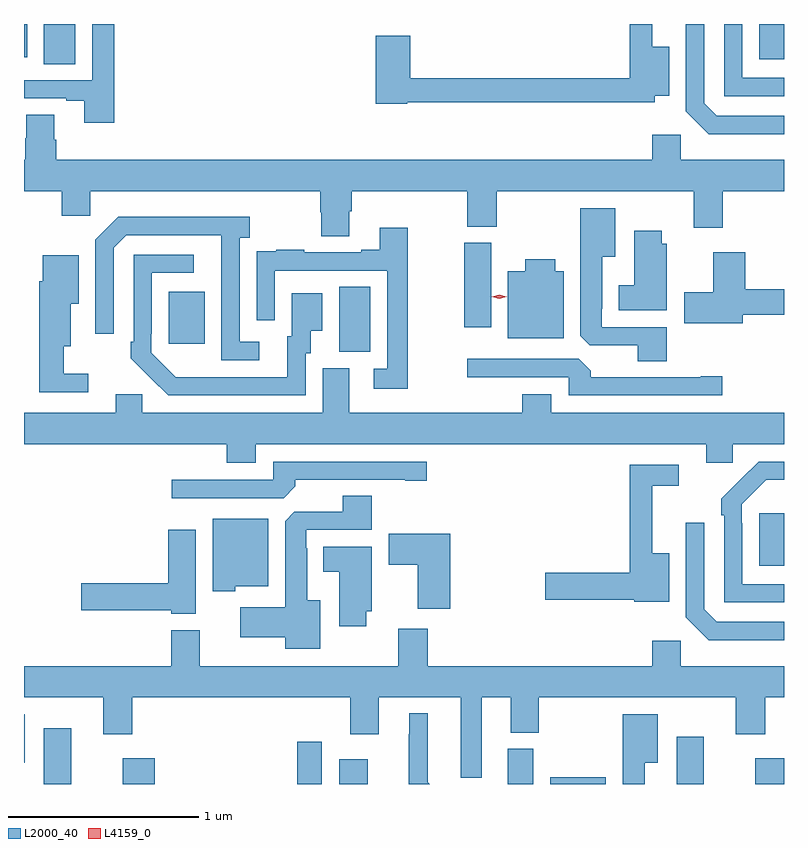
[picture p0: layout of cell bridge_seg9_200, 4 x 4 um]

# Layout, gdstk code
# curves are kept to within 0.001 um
import gdstk
lib = gdstk.Library(unit=1e-6, precision=1e-09)
def R(c, l, rs):  # rectangles x0, y0, x1, y1
    for r in rs: c.add(gdstk.rectangle(r[:2], r[2:], *l))
def P(c, l, *ps):  # polygons
    for p in ps: c.add(gdstk.Polygon(p, *l))
L2000_40 = (2000, 40)
L4159_0 = (4159, 0)

bridge_seg9_200 = lib.new_cell('bridge_seg9_200')
R(bridge_seg9_200, L2000_40, [(203.102,1201.291,203.245,1201.585), (203.516,1201.291,203.684,1201.426), (204.434,1201.291,204.565,1201.513), (204.656,1201.291,204.805,1201.42), (205.544,1201.291,205.678,1201.476), (205.766,1201.291,206.059,1201.327), (206.432,1201.291,206.575,1201.54), (206.846,1201.291,206.997,1201.426), (202.997,1201.403,203.002,1201.657), (206.867,1202.441,206.997,1202.716), (204.656,1203.565,204.82,1203.908), (203.759,1203.609,203.947,1203.883), (205.315,1203.696,205.456,1204.14), (203.102,1205.08,203.266,1205.291), (206.867,1205.105,206.997,1205.291), (202.997,1205.115,203.014,1205.291)])
P(bridge_seg9_200, L2000_40, [(206.997,1205.007),(206.778,1205.007),(206.778,1205.291),(206.682,1205.291),(206.682,1204.911),(206.997,1204.911)],
  [(205.014,1204.878),(206.316,1204.878),(206.316,1204.913),(206.392,1204.913),(206.392,1205.17),(206.303,1205.17),(206.303,1205.291),(206.185,1205.291),(206.185,1205.006),(205.031,1205.006),(205.031,1205.23),(204.848,1205.23),(204.848,1204.87),(205.014,1204.87)],
  [(206.997,1204.809),(206.643,1204.809),(206.577,1204.875),(206.577,1205.291),(206.481,1205.291),(206.481,1204.833),(206.602,1204.712),(206.997,1204.712)],
  [(203.471,1205.291),(203.355,1205.291),(203.355,1204.995),(202.997,1204.995),(202.997,1204.899),(203.219,1204.899),(203.219,1204.887),(203.315,1204.887),(203.315,1204.77),(203.471,1204.77)],
  [(204.709,1204.306),(204.722,1204.306),(204.722,1204.412),(205.33,1204.412),(205.33,1204.225),(205.485,1204.225),(205.485,1204.412),(206.522,1204.412),(206.522,1204.218),(206.675,1204.218),(206.675,1204.412),(206.997,1204.412),(206.997,1204.576),(206.454,1204.576),(206.454,1204.708),(206.303,1204.708),(206.303,1204.576),(203.168,1204.576),(203.168,1204.682),(203.155,1204.682),(203.155,1204.814),(203.008,1204.814),(203.008,1204.689),(203.003,1204.689),(203.003,1204.576),(202.997,1204.576),(202.997,1204.412),(203.195,1204.412),(203.195,1204.281),(203.346,1204.281),(203.346,1204.412),(204.557,1204.412),(204.557,1204.299),(204.562,1204.299),(204.562,1204.174),(204.709,1204.174)],
  [(206.381,1203.696),(206.037,1203.696),(206.037,1203.793),(206.041,1203.793),(206.041,1204.067),(206.11,1204.067),(206.11,1204.321),(205.925,1204.321),(205.925,1203.649),(205.974,1203.6),(206.228,1203.6),(206.228,1203.517),(206.381,1203.517)],
  [(204.235,1203.618),(204.132,1203.618),(204.132,1204.166),(204.184,1204.166),(204.184,1204.276),(203.494,1204.276),(203.373,1204.155),(203.373,1203.66),(203.469,1203.66),(203.469,1204.113),(203.535,1204.179),(204.035,1204.179),(204.036,1203.522),(204.235,1203.522)],
  [(205.018,1204.219),(204.869,1204.219),(204.869,1204.102),(204.773,1204.102),(204.773,1204.089),(204.473,1204.089),(204.473,1204.102),(204.325,1204.102),(204.325,1204.095),(204.223,1204.095),(204.223,1203.986),(204.222,1203.986),(204.222,1203.732),(204.318,1203.732),(204.318,1203.993),(204.909,1203.993),(204.909,1203.477),(204.837,1203.477),(204.837,1203.372),(205.018,1203.372)],
  [(206.38,1204.134),(206.353,1204.134),(206.353,1204.204),(206.21,1204.204),(206.21,1203.916),(206.126,1203.916),(206.126,1203.785),(206.38,1203.785)],
  [(206.779,1203.76),(206.997,1203.76),(206.997,1203.896),(206.792,1203.896),(206.792,1204.09),(206.624,1204.09),(206.624,1203.879),(206.472,1203.879),(206.472,1203.716),(206.779,1203.716)],
  [(204.48,1203.558),(204.505,1203.558),(204.505,1203.677),(204.568,1203.677),(204.568,1203.874),(204.407,1203.874),(204.407,1203.648),(204.383,1203.648),(204.383,1203.432),(203.796,1203.433),(203.667,1203.561),(203.667,1203.661),(203.67,1203.661),(203.67,1203.981),(203.89,1203.981),(203.89,1204.077),(203.574,1204.077),(203.574,1203.619),(203.559,1203.619),(203.559,1203.531),(203.756,1203.336),(204.48,1203.336)],
  [(203.335,1203.451),(203.206,1203.451),(203.206,1203.596),(203.242,1203.596),(203.242,1203.818),(203.284,1203.818),(203.284,1204.075),(203.096,1204.075),(203.096,1203.936),(203.077,1203.936),(203.077,1203.354),(203.335,1203.354)],
  [(205.837,1203.991),(205.792,1203.991),(205.792,1204.054),(205.634,1204.054),(205.634,1203.991),(205.544,1203.991),(205.544,1203.638),(205.837,1203.638)],
  [(206.671,1203.437),(206.558,1203.437),(206.558,1203.432),(205.979,1203.432),(205.979,1203.466),(205.917,1203.528),(205.329,1203.528),(205.329,1203.432),(205.863,1203.432),(205.863,1203.336),(206.671,1203.336)],
  [(204.217,1203.08),(206.588,1203.08),(206.588,1202.982),(206.727,1202.982),(206.727,1203.08),(206.997,1203.08),(206.997,1203.244),(205.771,1203.244),(205.771,1203.343),(205.619,1203.343),(205.619,1203.244),(204.709,1203.244),(204.709,1203.48),(204.569,1203.48),(204.569,1203.244),(203.619,1203.244),(203.619,1203.342),(203.48,1203.342),(203.48,1203.244),(202.997,1203.244),(202.997,1203.08),(204.065,1203.08),(204.065,1202.981),(204.217,1202.981)],
  [(206.997,1202.343),(206.778,1202.343),(206.778,1202.663),(206.775,1202.663),(206.775,1202.763),(206.904,1202.892),(206.997,1202.892),(206.997,1202.988),(206.864,1202.988),(206.667,1202.793),(206.667,1202.705),(206.682,1202.705),(206.682,1202.247),(206.997,1202.247)],
  [(204.425,1202.858),(204.425,1202.892),(205.004,1202.892),(205.004,1202.887),(205.117,1202.887),(205.117,1202.988),(204.309,1202.988),(204.309,1202.892),(203.775,1202.892),(203.775,1202.796),(204.363,1202.796)],
  [(206.392,1202.506),(206.303,1202.506),(206.303,1202.862),(206.443,1202.862),(206.443,1202.97),(206.185,1202.97),(206.185,1202.402),(205.74,1202.402),(205.74,1202.26),(206.208,1202.26),(206.208,1202.249),(206.392,1202.249)],
  [(204.556,1202.257),(204.487,1202.257),(204.487,1202.531),(204.483,1202.531),(204.483,1202.628),(204.827,1202.628),(204.827,1202.807),(204.674,1202.807),(204.674,1202.724),(204.42,1202.724),(204.371,1202.675),(204.371,1202.221),(204.135,1202.221),(204.135,1202.063),(204.371,1202.063),(204.371,1202.003),(204.556,1202.003)],
  [(204.108,1202.333),(204.283,1202.333),(204.283,1202.686),(203.99,1202.686),(203.99,1202.306),(204.108,1202.306)],
  [(206.997,1202.145),(206.643,1202.145),(206.577,1202.211),(206.577,1202.665),(206.481,1202.665),(206.481,1202.169),(206.602,1202.048),(206.997,1202.048)],
  [(203.902,1202.629),(203.756,1202.629),(203.756,1202.348),(203.298,1202.348),(203.298,1202.206),(203.772,1202.206),(203.772,1202.186),(203.902,1202.186)],
  [(205.24,1202.608),(204.918,1202.608),(204.918,1202.446),(205.07,1202.446),(205.07,1202.213),(205.24,1202.213)],
  [(204.799,1202.199),(204.826,1202.199),(204.826,1202.539),(204.572,1202.539),(204.572,1202.408),(204.656,1202.408),(204.656,1202.121),(204.799,1202.121)],
  [(203.923,1202.101),(203.771,1202.101),(203.771,1201.912),(202.997,1201.912),(202.997,1201.748),(203.414,1201.748),(203.414,1201.554),(203.567,1201.554),(203.567,1201.748),(204.713,1201.748),(204.713,1201.554),(204.865,1201.554),(204.865,1201.748),(205.295,1201.748),(205.295,1201.323),(205.405,1201.323),(205.405,1201.748),(205.559,1201.748),(205.559,1201.561),(205.707,1201.561),(205.707,1201.748),(206.744,1201.748),(206.744,1201.554),(206.897,1201.554),(206.897,1201.748),(206.997,1201.748),(206.997,1201.912),(206.454,1201.912),(206.454,1202.044),(206.303,1202.044),(206.303,1201.912),(205.121,1201.912),(205.121,1202.107),(204.968,1202.107),(204.968,1201.912),(203.923,1201.912)],
  [(205.123,1201.3),(205.123,1201.663),(205.025,1201.663),(205.025,1201.553),(205.021,1201.553),(205.021,1201.291),(205.132,1201.291)],
  [(206.263,1201.403),(206.332,1201.403),(206.332,1201.657),(206.147,1201.657),(206.147,1201.291),(206.263,1201.291)])
P(bridge_seg9_200, L4159_0, [(205.498,1203.846),(205.46,1203.855),(205.46,1203.856),(205.46,1203.856),(205.498,1203.866),(205.537,1203.856),(205.537,1203.856),(205.537,1203.856)])

lib.write_gds('bridge_seg9_200.gds')
